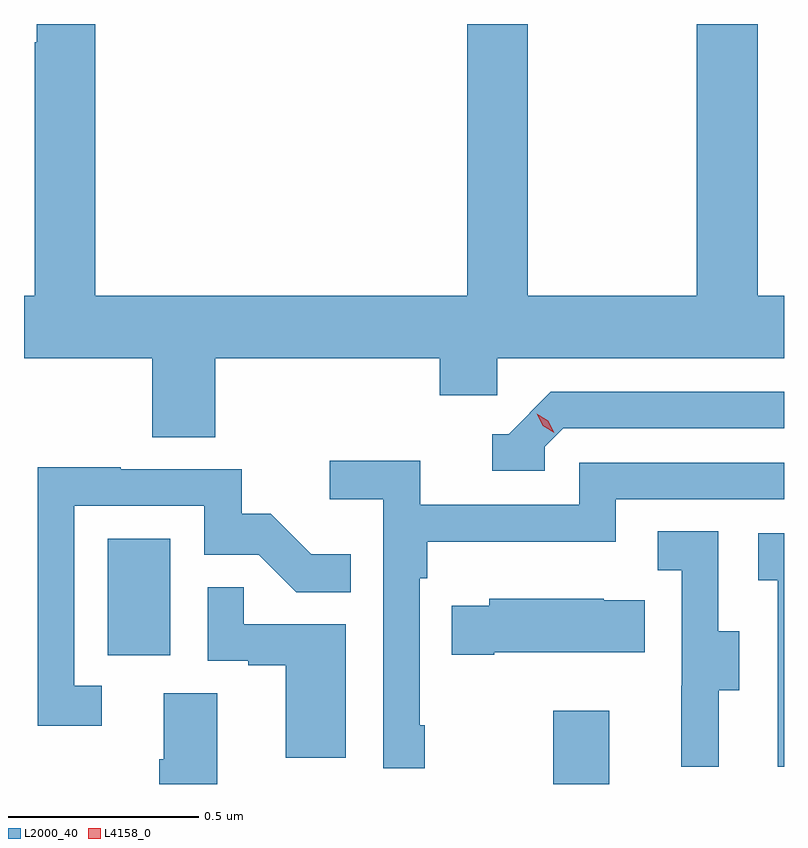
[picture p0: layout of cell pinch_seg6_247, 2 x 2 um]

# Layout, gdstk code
import gdstk
lib = gdstk.Library(unit=1e-6, precision=1e-09)
def R(c, l, rs):  # rectangles x0, y0, x1, y1
    for r in rs: c.add(gdstk.rectangle(r[:2], r[2:], *l))
def P(c, l, *ps):  # polygons
    for p in ps: c.add(gdstk.Polygon(p, *l))
L2000_40 = (2000, 40)
L4158_0 = (4158, 0)

pinch_seg6_247 = lib.new_cell('pinch_seg6_247')
R(pinch_seg6_247, L2000_40, [(1122.424,931.563,1122.571,931.756), (1121.252,931.902,1121.416,932.209)])
P(pinch_seg6_247, L2000_40, [(1121.534,932.684),(1122.125,932.684),(1122.125,932.586),(1122.276,932.586),(1122.276,932.684),(1123.031,932.684),(1123.031,932.848),(1122.962,932.848),(1122.962,933.563),(1122.802,933.563),(1122.802,932.848),(1122.357,932.848),(1122.357,933.563),(1122.197,933.563),(1122.197,932.848),(1121.219,932.848),(1121.219,933.563),(1121.065,933.563),(1121.065,933.515),(1121.059,933.515),(1121.059,932.848),(1121.031,932.848),(1121.031,932.684),(1121.369,932.684),(1121.369,932.476),(1121.534,932.476)],
  [(1122.402,932.451),(1122.45,932.499),(1123.031,932.499),(1123.031,932.595),(1122.417,932.595),(1122.306,932.484),(1122.263,932.484),(1122.263,932.388),(1122.402,932.388)],
  [(1122.085,931.717),(1122.072,931.717),(1122.072,932.105),(1122.092,932.105),(1122.092,932.201),(1122.588,932.201),(1122.588,932.313),(1123.031,932.313),(1123.031,932.409),(1122.492,932.409),(1122.492,932.298),(1122.074,932.298),(1122.074,932.414),(1121.835,932.414),(1121.835,932.312),(1121.976,932.312),(1121.976,931.605),(1122.085,931.605)],
  [(1121.236,931.821),(1121.163,931.821),(1121.163,932.295),(1121.505,932.295),(1121.505,932.166),(1121.649,932.166),(1121.747,932.068),(1121.891,932.068),(1121.891,932.167),(1121.787,932.167),(1121.68,932.274),(1121.604,932.274),(1121.604,932.391),(1121.285,932.391),(1121.285,932.396),(1121.067,932.396),(1121.067,931.716),(1121.236,931.716)],
  [(1122.859,931.81),(1122.913,931.81),(1122.913,931.965),(1122.858,931.965),(1122.858,932.228),(1122.699,932.228),(1122.699,932.125),(1122.762,932.125),(1122.762,931.821),(1122.761,931.821),(1122.761,931.608),(1122.859,931.608)],
  [(1123.031,932.223),(1122.963,932.223),(1122.963,932.099),(1123.014,932.099),(1123.014,931.608),(1123.031,931.608)],
  [(1121.878,931.983),(1121.609,931.983),(1121.609,932.081),(1121.514,932.081),(1121.514,931.887),(1121.621,931.887),(1121.621,931.875),(1121.72,931.875),(1121.72,931.632),(1121.878,931.632)],
  [(1122.268,931.91),(1122.665,931.91),(1122.665,932.047),(1122.557,932.047),(1122.557,932.05),(1122.255,932.05),(1122.255,932.032),(1122.157,932.032),(1122.157,931.903),(1122.268,931.903)],
  [(1121.539,931.802),(1121.399,931.802),(1121.399,931.628),(1121.387,931.628),(1121.387,931.563),(1121.539,931.563)])
P(pinch_seg6_247, L4158_0, [(1122.427,932.487),(1122.396,932.506),(1122.38,932.538),(1122.38,932.538),(1122.38,932.538),(1122.411,932.519),(1122.427,932.487),(1122.427,932.487)])

lib.write_gds('pinch_seg6_247.gds')
